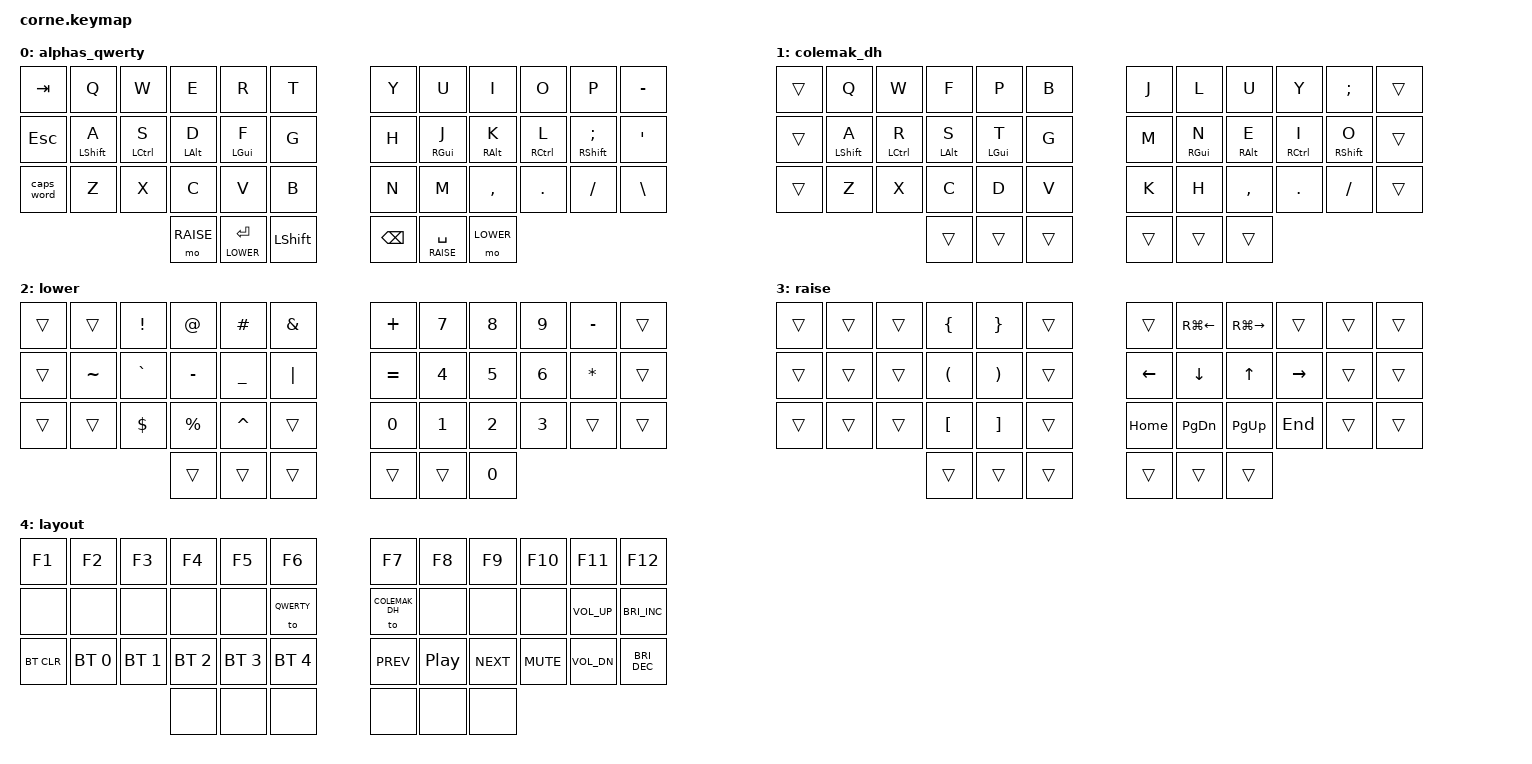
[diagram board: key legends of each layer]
/*
 * Copyright (c) 2020 The ZMK Contributors
 *
 * SPDX-License-Identifier: MIT
 */

#define QWERTY 0
#define COLEMAK_DH 1
#define LOWER 2
#define RAISE 3
#define LAYOUT 4

#define HRM_TT 170
#define TM_TT 200

#include <behaviors.dtsi>
#include <dt-bindings/zmk/keys.h>
#include <dt-bindings/zmk/bt.h>

&lt {
    flavor = "tap-preferred";
    tapping-term-ms = <TM_TT>;
    quick-tap-ms = <TM_TT>;
};

/ {
    behaviors {
        hm: homerow_mods {
            compatible = "zmk,behavior-hold-tap";
            label = "HOMEROW_MODS";
            #binding-cells = <2>;
            flavor = "tap-preferred";
            tapping-term-ms = <HRM_TT>;
            quick-tap-ms = <HRM_TT>;
            bindings = <&kp>, <&kp>;
        };

    };

    conditional_layers {
        compatible = "zmk,conditional-layers";
        layout_layer {
            if-layers = <LOWER RAISE>;
            then-layer = <LAYOUT>;
        };
    };

    keymap {
        compatible = "zmk,keymap";

        alphas_qwerty {
            bindings = <
&kp TAB    &kp Q       &kp W       &kp E      &kp R      &kp T          &kp Y        &kp U      &kp I           &kp O       &kp P          &kp MINUS
&kp ESC    &hm LSHFT A &hm LCTRL S &hm LALT D &hm LGUI F &kp G          &kp H        &hm RGUI J &hm RALT K      &hm RCTRL L &hm RSHFT SEMI &kp SQT
&caps_word &kp Z       &kp X       &kp C      &kp V      &kp B          &kp N        &kp M      &kp COMMA       &kp DOT     &kp FSLH       &kp BSLH
                                              &mo RAISE  &lt LOWER RET  &kp LSHFT    &kp BSPC   &lt RAISE SPACE &mo LOWER
            >;
        };

        colemak_dh {
            bindings = <
&trans &kp Q       &kp W       &kp F      &kp P      &kp B     &kp J  &kp L      &kp U      &kp Y       &kp SEMI    &trans
&trans &hm LSHFT A &hm LCTRL R &hm LALT S &hm LGUI T &kp G     &kp M  &hm RGUI N &hm RALT E &hm RCTRL I &hm RSHFT O &trans
&trans &kp Z       &kp X       &kp C      &kp D      &kp V     &kp K  &kp H      &kp COMMA  &kp DOT     &kp FSLH    &trans
                               &trans     &trans     &trans    &trans &trans     &trans
            >;
        };

        lower {
            bindings = <
&trans &trans    &kp EXCL  &kp AT    &kp HASH  &kp AMPS    &kp PLUS  &kp N7  &kp N8 &kp N9 &kp MINUS &trans
&trans &kp TILDE &kp GRAVE &kp MINUS &kp UNDER &kp PIPE    &kp EQUAL &kp N4  &kp N5 &kp N6 &kp STAR  &trans
&trans &trans    &kp DLLR  &kp PRCNT &kp CARET &trans      &kp N0    &kp N1  &kp N2 &kp N3 &trans    &trans
                           &trans    &trans    &trans      &trans    &trans  &kp N0
            >;
        };

        raise {
            bindings = <
&trans &trans &trans &kp LBRC &kp RBRC &trans    &trans   &kp RG(LEFT) &kp RG(RIGHT) &trans    &trans &trans
&trans &trans &trans &kp LPAR &kp RPAR &trans    &kp LEFT &kp DOWN     &kp UP        &kp RIGHT &trans &trans
&trans &trans &trans &kp LBKT &kp RBKT &trans    &kp HOME &kp PG_DN    &kp PG_UP     &kp END   &trans &trans
                     &trans   &trans   &trans    &trans   &trans       &trans
            >;
        };

        layout {
            bindings = <
&kp F1     &kp F2       &kp F3       &kp F4       &kp F5       &kp F6          &kp F7         &kp F8   &kp F9     &kp F10    &kp F11      &kp F12
&none      &none        &none        &none        &none        &to QWERTY      &to COLEMAK_DH &none    &none      &none      &kp C_VOL_UP &kp C_BRIGHTNESS_INC
&bt BT_CLR &bt BT_SEL 0 &bt BT_SEL 1 &bt BT_SEL 2 &bt BT_SEL 3 &bt BT_SEL 4    &kp C_PREV     &kp C_PP &kp C_NEXT &kp C_MUTE &kp C_VOL_DN &kp C_BRIGHTNESS_DEC
                                     &none        &none        &none           &none          &none    &none
            >;
        };
    };
};
